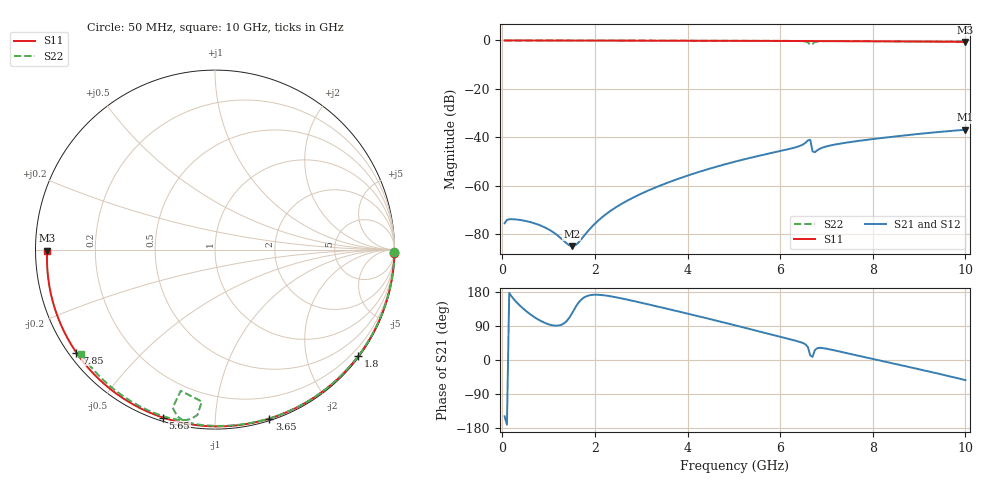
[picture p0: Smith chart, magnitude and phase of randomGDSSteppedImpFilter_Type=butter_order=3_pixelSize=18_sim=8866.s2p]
! freq	dB(S11)	phase(S11)	dB(S12)	phase(S12)
!  dB(S21)	phase(S21)	dB(S22)	phase(S22)
!S-par simulation data
#  GHz  S  DB  R 50
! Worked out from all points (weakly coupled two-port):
!   200 points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, 50 MHz to 10 GHz, reference 50 ohm
!   highest |S21| = -36.86 dB at 10 GHz (marker M1); lowest = -84.9 dB at 1.5 GHz (marker M2)
!   lowest |S11| = -0.6 dB at 10 GHz (marker M3), VSWR 29.94, Z = 1.67 - j0.146 ohm
!   |S11| at or under -10 dB: nowhere
!   |S22| runs from -1.8 to 0.0 dB; largest |S21 - S12| = 0
!   S11 on the Smith chart (normalised r, x): 50 MHz: open; 1.8 GHz: 0.03, -3.01; 3.65 GHz: 0.02, -1.37; 5.65 GHz: 0.02, -0.74; 7.85 GHz: 0.02, -0.33; 10 GHz: 0.03, -0.00
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0.05  -0.00 -1.0  -75.44 -148.5  -75.44 -148.5  -0.00 -0.8
0.15  -0.00 -3.1  -73.80 177.0  -73.80 177.0  -0.00 -2.5
0.4  -0.01 -8.3  -74.13 141.3  -74.13 141.3  -0.00 -6.6
0.8  -0.02 -16.6  -76.18 105.1  -76.18 105.1  -0.01 -13.2
1.15  -0.03 -23.7  -79.82 90.7  -79.82 90.7  -0.02 -18.8
1.5  -0.04 -30.7  -84.89 122.1  -84.89 122.1  -0.03 -24.5
1.75  -0.05 -35.7  -80.98 163.8  -80.98 163.8  -0.04 -28.5
1.8  -0.05 -36.7  -79.80 167.3  -79.80 167.3  -0.04 -29.3
2.05  -0.05 -41.7  -74.70 172.3  -74.70 172.3  -0.04 -33.3
2.4  -0.06 -48.5  -69.52 166.8  -69.52 166.8  -0.05 -38.8
3.4  -0.09 -67.5  -59.95 139.8  -59.95 139.8  -0.07 -54.2
3.65  -0.10 -72.1  -58.12 132.6  -58.12 132.6  -0.08 -57.9
5.05  -0.15 -97.0  -49.88 90.8  -49.88 90.8  -0.12 -78.4
5.65  -0.18 -107.2  -47.12 72.2  -47.12 72.2  -0.14 -86.9
6.45  -0.23 -120.5  -43.33 46.7  -43.33 46.7  -0.25 -99.7
6.55  -0.23 -122.2  -42.19 41.0  -42.19 41.0  -0.43 -102.8
6.65  -0.24 -123.8  -41.05 11.9  -41.05 11.9  -1.83 -103.6
6.7  -0.24 -124.6  -45.81 8.3  -45.81 8.3  -1.42 -95.0
6.85  -0.25 -127.1  -44.75 32.1  -44.75 32.1  -0.33 -99.5
7.85  -0.33 -143.4  -41.05 6.9  -41.05 6.9  -0.28 -114.8
8.35  -0.38 -151.6  -39.90 -6.7  -39.90 -6.7  -0.32 -121.3
10  -0.58 -179.7  -36.86 -53.1  -36.86 -53.1  -0.49 -142.2
